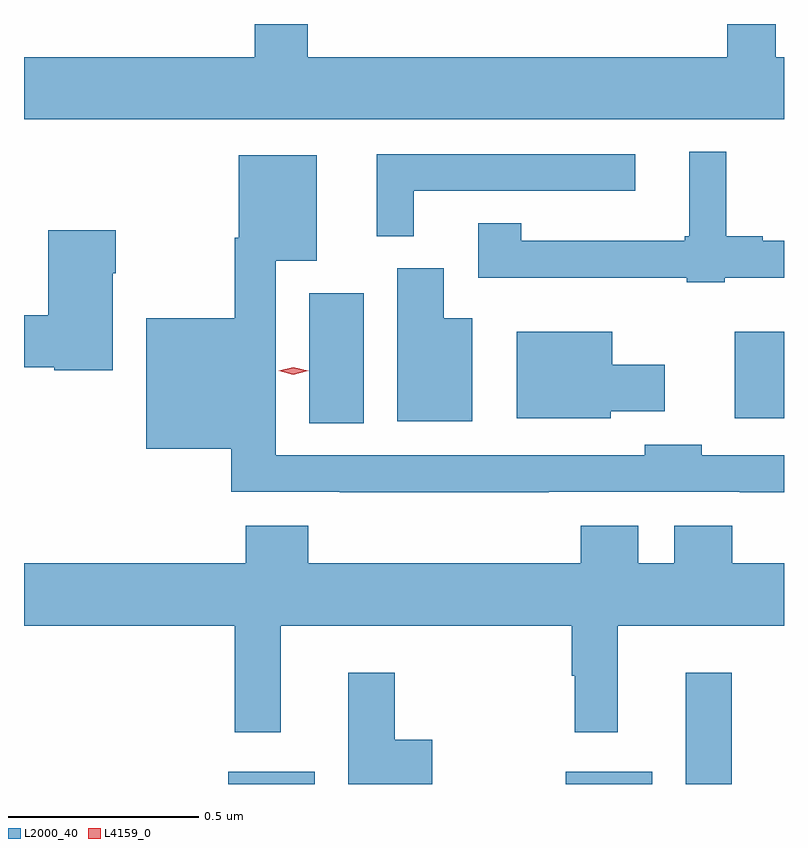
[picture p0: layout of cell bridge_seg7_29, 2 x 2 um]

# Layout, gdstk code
import gdstk
lib = gdstk.Library(unit=1e-6, precision=1e-09)
def R(c, l, rs):  # rectangles x0, y0, x1, y1
    for r in rs: c.add(gdstk.rectangle(r[:2], r[2:], *l))
def P(c, l, *ps):  # polygons
    for p in ps: c.add(gdstk.Polygon(p, *l))
L2000_40 = (2000, 40)
L4159_0 = (4159, 0)

bridge_seg7_29 = lib.new_cell('bridge_seg7_29')
R(bridge_seg7_29, L2000_40, [(1014.068,1069.463,1014.295,1069.495), (1014.956,1069.463,1015.183,1069.495), (1015.271,1069.463,1015.393,1069.756), (1014.281,1070.413,1014.424,1070.755), (1015.4,1070.426,1015.53,1070.653)])
P(bridge_seg7_29, L2000_40, [(1015.53,1071.376),(1015.508,1071.376),(1015.508,1071.463),(1015.38,1071.463),(1015.38,1071.376),(1014.277,1071.376),(1014.277,1071.463),(1014.137,1071.463),(1014.137,1071.376),(1013.53,1071.376),(1013.53,1071.212),(1015.53,1071.212)],
  [(1015.374,1070.795),(1015.53,1070.795),(1015.53,1070.892),(1015.474,1070.892),(1015.474,1070.905),(1015.378,1070.905),(1015.378,1071.127),(1015.28,1071.127),(1015.28,1070.905),(1015.269,1070.905),(1015.269,1070.893),(1014.839,1070.893),(1014.839,1070.939),(1014.726,1070.939),(1014.726,1070.795),(1015.274,1070.795),(1015.274,1070.784),(1015.374,1070.784)],
  [(1014.556,1071.024),(1015.138,1071.024),(1015.138,1071.12),(1014.458,1071.12),(1014.458,1070.905),(1014.556,1070.905)],
  [(1014.911,1070.232),(1015.414,1070.232),(1015.414,1070.231),(1015.53,1070.231),(1015.53,1070.328),(1015.314,1070.328),(1015.314,1070.356),(1015.164,1070.356),(1015.164,1070.328),(1014.193,1070.328),(1014.193,1070.585),(1014.192,1070.585),(1014.192,1070.84),(1014.301,1070.84),(1014.301,1071.118),(1014.095,1071.118),(1014.095,1070.9),(1014.084,1070.9),(1014.084,1070.689),(1013.852,1070.689),(1013.852,1070.345),(1014.076,1070.345),(1014.076,1070.232),(1014.361,1070.232),(1014.361,1070.231),(1014.911,1070.231)],
  [(1013.764,1070.807),(1013.772,1070.807),(1013.772,1070.92),(1013.594,1070.92),(1013.594,1070.696),(1013.53,1070.696),(1013.53,1070.56),(1013.61,1070.56),(1013.61,1070.552),(1013.764,1070.552)],
  [(1014.709,1070.689),(1014.634,1070.689),(1014.634,1070.82),(1014.512,1070.82),(1014.512,1070.417),(1014.709,1070.417)],
  [(1015.074,1070.444),(1015.216,1070.444),(1015.216,1070.566),(1015.078,1070.566),(1015.078,1070.653),(1014.827,1070.653),(1014.827,1070.426),(1015.074,1070.426)],
  [(1014.205,1069.88),(1014.972,1069.88),(1014.972,1069.748),(1014.979,1069.748),(1014.979,1069.599),(1015.093,1069.599),(1015.093,1069.88),(1015.53,1069.88),(1015.53,1070.044),(1015.394,1070.044),(1015.394,1070.143),(1015.241,1070.143),(1015.241,1070.044),(1015.147,1070.044),(1015.147,1070.143),(1014.995,1070.143),(1014.995,1070.044),(1014.278,1070.044),(1014.278,1070.143),(1014.113,1070.143),(1014.113,1070.044),(1013.53,1070.044),(1013.53,1069.88),(1014.084,1069.88),(1014.084,1069.599),(1014.205,1069.599)],
  [(1014.604,1069.579),(1014.505,1069.579),(1014.505,1069.756),(1014.383,1069.756),(1014.383,1069.463),(1014.604,1069.463)])
P(bridge_seg7_29, L4159_0, [(1014.239,1070.54),(1014.2,1070.55),(1014.2,1070.55),(1014.2,1070.55),(1014.239,1070.56),(1014.278,1070.55),(1014.278,1070.55),(1014.278,1070.55)])

lib.write_gds('bridge_seg7_29.gds')
